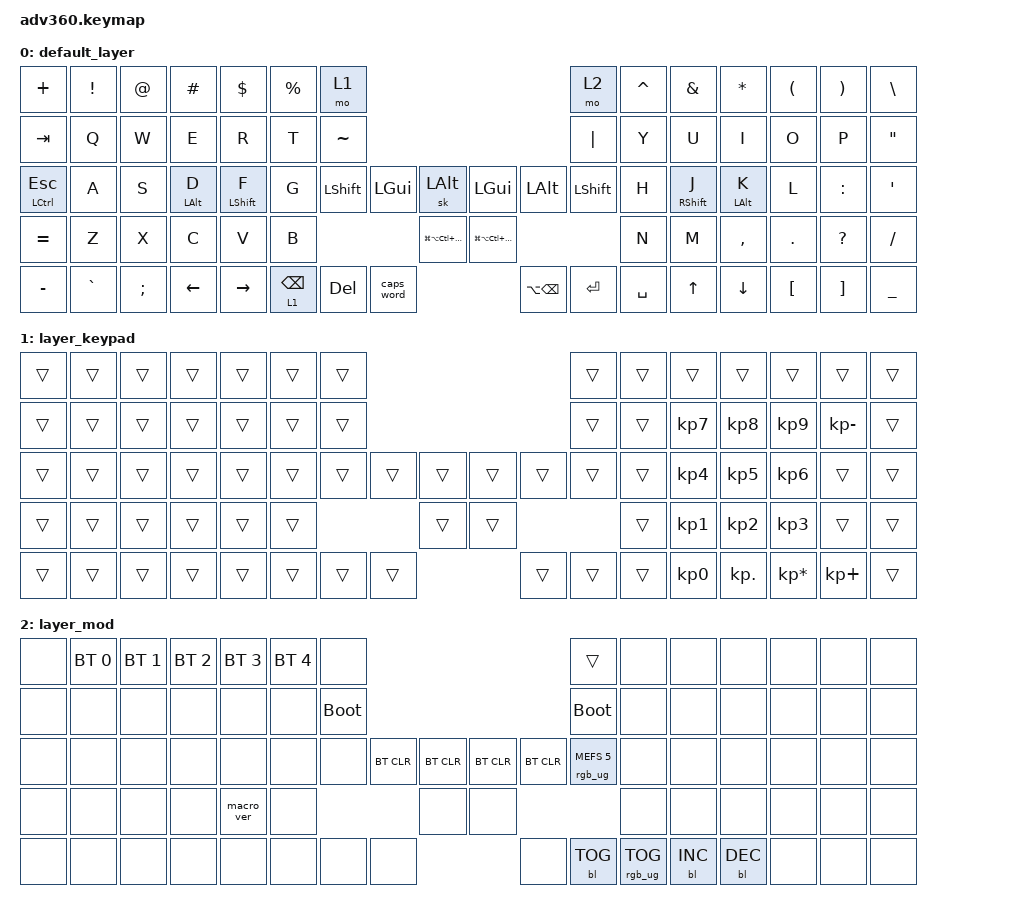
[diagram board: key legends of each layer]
#include <behaviors.dtsi>
#include <dt-bindings/zmk/keys.h>
#include <dt-bindings/zmk/bt.h>
#include <dt-bindings/zmk/rgb.h>
#include <dt-bindings/zmk/backlight.h>

&mt {
    quick-tap-ms = <400>;
    require-prior-idle-ms = <125>;
};

&lt {
    quick-tap-ms = <400>;
    require-prior-idle-ms = <125>;
};

#define POS_UP 71
#define POS_DOWN 72
#define POS_ENTER 69

#define POS_LEFT 63
#define POS_RIGHT 64
#define POS_J_SHIFT 41
#define POS_K_OPTION 42
#define POS_BSPC 65
#define POS_DEL 66

/ {
    behaviors {
      #include "macros.dtsi"
      #include "version.dtsi"
      #ifndef VERSION_MACRO
      macro_ver: macro_ver {
        compatible = "zmk,behavior-macro";
        label = "macro_version";
        #binding-cells = <0>;
        bindings = <&kp RET>;
      };
      #endif

      hm: homerow_mods {
          compatible = "zmk,behavior-hold-tap";
          label = "HOMEROW_MODS";
          #binding-cells = <2>;
          tapping-term-ms = <200>;
          quick_tap_ms = <175>;
          flavor = "tap-preferred";
          bindings = <&kp>, <&kp>;
      };

      hm_l: homerow_mods_left {
          compatible = "zmk,behavior-hold-tap";
          #binding-cells = <2>;
          bindings = <&kp>, <&kp>;

          flavor = "hold-preferred";
          tapping-term-ms = <300>;
          quick-tap-ms = <175>;                // repeat on tap-into-hold
          require-prior-idle-ms = <200>;

          hold-trigger-key-positions = <POS_UP POS_DOWN POS_ENTER>;
          // hold-trigger-on-release;
      };

      hm_r: homerow_mods_right {
          compatible = "zmk,behavior-hold-tap";
          #binding-cells = <2>;
          bindings = <&kp>, <&kp>;

          flavor = "hold-preferred";
          tapping-term-ms = <300>;
          quick-tap-ms = <175>;
          require-prior-idle-ms = <200>;

          hold-trigger-key-positions = <POS_LEFT POS_RIGHT POS_J_SHIFT POS_K_OPTION POS_BSPC POS_DEL>;
          // hold-trigger-on-release;
      };
    };

    keymap {
        compatible = "zmk,keymap";

        default_layer {
            bindings = <
&kp PLUS       &kp EXCL   &kp AT    &kp HASH      &kp DLLR       &kp PRCNT  &mo 1                                                                                                     &mo 2      &kp CARET  &kp AMPS       &kp STAR      &kp LPAR  &kp RPAR   &kp BSLH
&kp TAB        &kp Q      &kp W     &kp E         &kp R          &kp T      &kp TILDE                                                                                                 &kp PIPE   &kp Y      &kp U          &kp I         &kp O     &kp P      &kp DQT
&mt LCTRL ESC  &kp A      &kp S     &hm_r LALT D  &hm_l LSHFT F  &kp G      &kp LSHFT              &kp LGUI   &sk LALT                 &kp LGUI                 &kp LALT              &kp LSHFT  &kp H      &hm_r RSHFT J  &hm_r LALT K  &kp L     &kp COLON  &kp SQT
&kp EQUAL      &kp Z      &kp X     &kp C         &kp V          &kp B                                        &kp LG(LA(LC(LS(F11))))  &kp LG(LA(LC(LS(F12))))                                   &kp N      &kp M          &kp COMMA     &kp DOT   &kp QMARK  &kp FSLH
&kp MINUS      &kp GRAVE  &kp SEMI  &kp LEFT      &kp RIGHT                            &lt 1 BSPC  &kp DEL    &caps_word               &kp LA(BSPC)             &kp ENTER  &kp SPACE                        &kp UP         &kp DOWN      &kp LBKT  &kp RBKT   &kp UNDER
            >;
        };

        layer_keypad {
            bindings = <
&trans  &trans  &trans  &trans  &trans  &trans  &trans                                                &trans  &trans  &trans     &trans      &trans           &trans         &trans
&trans  &trans  &trans  &trans  &trans  &trans  &trans                                                &trans  &trans  &kp KP_N7  &kp KP_N8   &kp KP_N9        &kp KP_MINUS   &trans
&trans  &trans  &trans  &trans  &trans  &trans  &trans          &trans  &trans  &trans  &trans        &trans  &trans  &kp KP_N4  &kp KP_N5   &kp KP_N6        &trans         &trans
&trans  &trans  &trans  &trans  &trans  &trans                          &trans  &trans                        &trans  &kp KP_N1  &kp KP_N2   &kp KP_N3        &trans         &trans
&trans  &trans  &trans  &trans  &trans                  &trans  &trans  &trans  &trans  &trans  &trans                &kp KP_N0  &kp KP_DOT  &kp KP_MULTIPLY  &kp KP_PLUS    &trans
            >;
        };

        layer_mod {
            bindings = <
&none &bt BT_SEL 0 &bt BT_SEL 1 &bt BT_SEL 2 &bt BT_SEL 3 &bt BT_SEL 4 &none                                                                                    &trans                 &none        &none        &none        &none &none &none
&none &none        &none        &none        &none        &none        &bootloader                                                                              &bootloader            &none        &none        &none        &none &none &none
&none &none        &none        &none        &none        &none        &none                   &bt BT_CLR &bt BT_CLR &bt BT_CLR &bt BT_CLR                      &rgb_ug RGB_MEFS_CMD 5 &none        &none        &none        &none &none &none
&none &none        &none        &none        &macro_ver   &none                                           &none      &none                                                             &none        &none        &none        &none &none &none
&none &none        &none        &none        &none                                       &none &none      &none      &none      &bl BL_TOG &rgb_ug RGB_TOG                                          &bl BL_INC   &bl BL_DEC   &none &none &none
            >;
        };

    };
};
